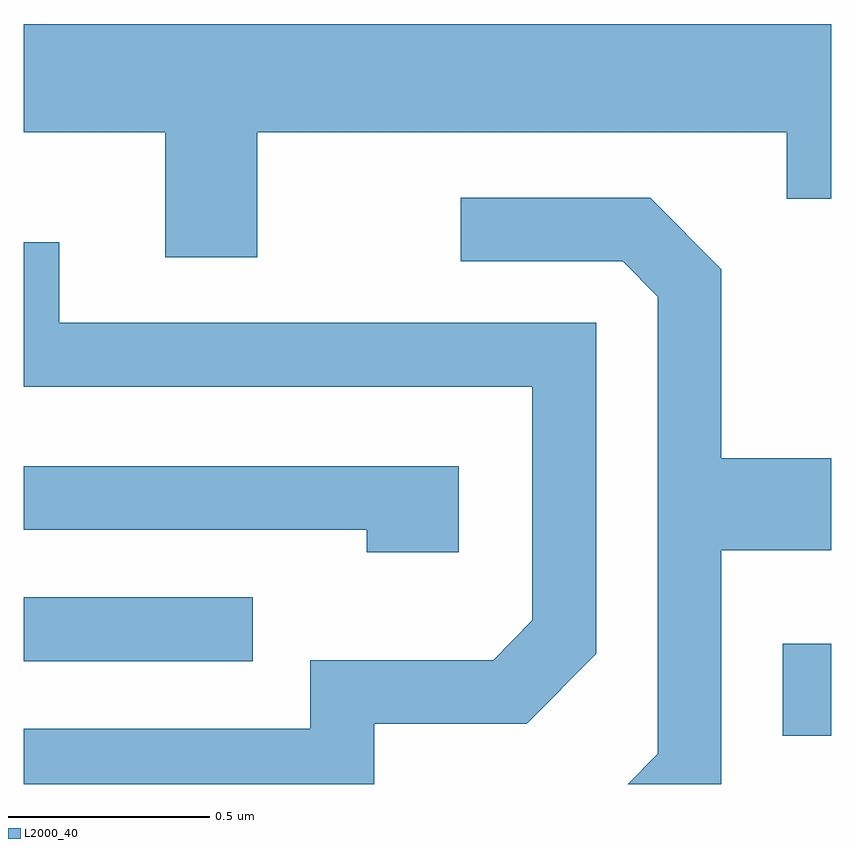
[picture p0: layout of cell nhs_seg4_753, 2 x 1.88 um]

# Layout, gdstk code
import gdstk
lib = gdstk.Library(unit=1e-6, precision=1e-09)
def R(c, l, rs):  # rectangles x0, y0, x1, y1
    for r in rs: c.add(gdstk.rectangle(r[:2], r[2:], *l))
def P(c, l, *ps):  # polygons
    for p in ps: c.add(gdstk.Polygon(p, *l))
L2000_40 = (2000, 40)

nhs_seg4_753 = lib.new_cell('nhs_seg4_753')
R(nhs_seg4_753, L2000_40, [(192.491,1322.101,192.611,1322.329), (190.611,1322.286,191.178,1322.444)])
P(nhs_seg4_753, L2000_40, [(191.189,1323.596),(192.501,1323.596),(192.501,1323.431),(192.611,1323.431),(192.611,1323.864),(190.611,1323.864),(190.611,1323.596),(190.961,1323.596),(190.961,1323.286),(191.189,1323.286)],
  [(192.339,1322.561),(192.611,1322.561),(192.611,1322.789),(192.339,1322.789),(192.339,1323.257),(192.162,1323.434),(191.693,1323.434),(191.693,1323.276),(192.094,1323.276),(192.181,1323.189),(192.181,1322.057),(192.107,1321.982),(192.339,1321.982)],
  [(191.479,1322.131),(191.857,1322.131),(192.029,1322.304),(192.029,1323.124),(190.699,1323.124),(190.699,1323.323),(190.611,1323.323),(190.611,1322.966),(191.871,1322.966),(191.871,1322.387),(191.774,1322.289),(191.321,1322.289),(191.321,1322.119),(190.611,1322.119),(190.611,1321.982),(191.479,1321.982)],
  [(191.689,1322.769),(190.611,1322.769),(190.611,1322.611),(191.461,1322.611),(191.461,1322.556),(191.689,1322.556)])

lib.write_gds('nhs_seg4_753.gds')
